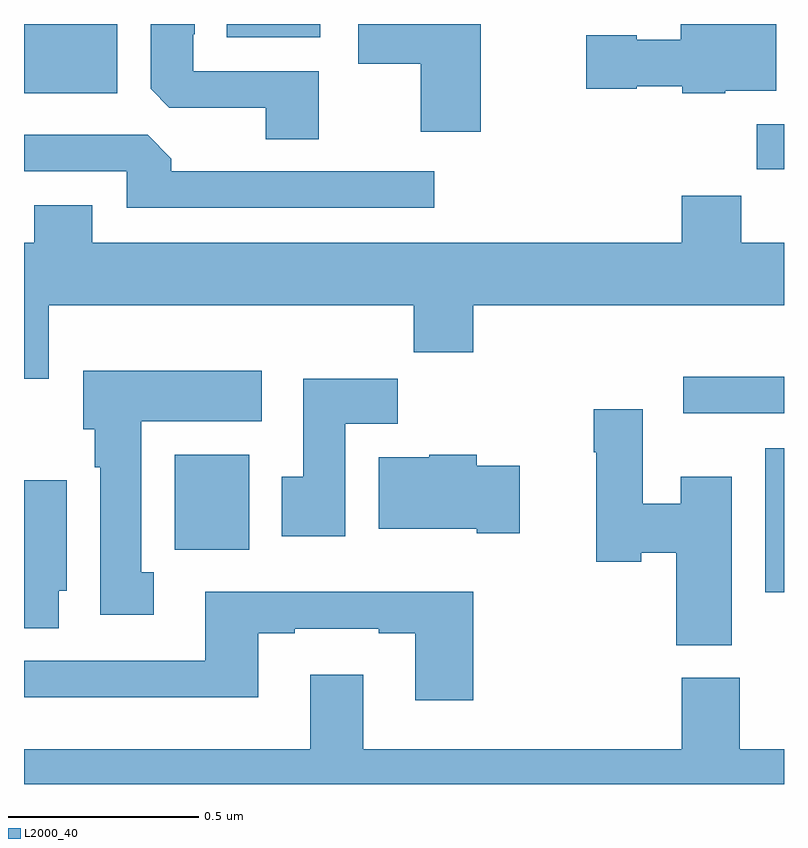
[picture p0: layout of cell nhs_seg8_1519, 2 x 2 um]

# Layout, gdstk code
import gdstk
lib = gdstk.Library(unit=1e-6, precision=1e-09)
def R(c, l, rs):  # rectangles x0, y0, x1, y1
    for r in rs: c.add(gdstk.rectangle(r[:2], r[2:], *l))
def P(c, l, *ps):  # polygons
    for p in ps: c.add(gdstk.Polygon(p, *l))
L2000_40 = (2000, 40)

nhs_seg8_1519 = lib.new_cell('nhs_seg8_1519')
R(nhs_seg8_1519, L2000_40, [(132.95,1122.404,133,1122.784), (131.397,1122.516,131.593,1122.766), (132.735,1122.876,133,1122.972), (132.928,1123.518,133,1123.636), (131,1123.718,131.245,1123.9), (131.534,1123.865,131.779,1123.9)])
P(nhs_seg8_1519, L2000_40, [(132.202,1123.9),(131.88,1123.9),(131.88,1123.796),(132.044,1123.796),(132.044,1123.617),(132.202,1123.617)],
  [(131.776,1123.776),(131.445,1123.776),(131.445,1123.873),(131.449,1123.873),(131.449,1123.9),(131.333,1123.9),(131.333,1123.729),(131.382,1123.68),(131.636,1123.68),(131.636,1123.597),(131.776,1123.597)],
  [(132.846,1123.724),(132.979,1123.724),(132.979,1123.9),(132.728,1123.9),(132.728,1123.858),(132.612,1123.858),(132.612,1123.871),(132.48,1123.871),(132.48,1123.729),(132.612,1123.729),(132.612,1123.736),(132.732,1123.736),(132.732,1123.718),(132.846,1123.718)],
  [(132.079,1123.512),(131.387,1123.512),(131.387,1123.546),(131.325,1123.608),(131,1123.608),(131,1123.512),(131.271,1123.512),(131.271,1123.416),(132.079,1123.416)],
  [(132.025,1123.036),(132.182,1123.036),(132.182,1123.16),(133,1123.16),(133,1123.324),(132.887,1123.324),(132.887,1123.448),(132.731,1123.448),(132.731,1123.324),(131.179,1123.324),(131.179,1123.423),(131.027,1123.423),(131.027,1123.324),(131,1123.324),(131,1122.966),(131.065,1122.966),(131.065,1123.16),(132.025,1123.16)],
  [(131.341,1122.457),(131.308,1122.457),(131.308,1122.854),(131.626,1122.854),(131.626,1122.988),(131.156,1122.988),(131.156,1122.834),(131.186,1122.834),(131.186,1122.734),(131.201,1122.734),(131.201,1122.345),(131.341,1122.345)],
  [(131.845,1122.848),(131.984,1122.848),(131.984,1122.967),(131.735,1122.967),(131.735,1122.708),(131.678,1122.708),(131.678,1122.552),(131.845,1122.552)],
  [(132.862,1122.709),(132.728,1122.709),(132.728,1122.637),(132.628,1122.637),(132.628,1122.886),(132.499,1122.886),(132.499,1122.773),(132.506,1122.773),(132.506,1122.485),(132.624,1122.485),(132.624,1122.508),(132.716,1122.508),(132.716,1122.265),(132.862,1122.265)],
  [(132.304,1122.738),(132.192,1122.738),(132.192,1122.766),(132.066,1122.766),(132.066,1122.76),(131.933,1122.76),(131.933,1122.572),(132.191,1122.572),(132.191,1122.56),(132.304,1122.56)],
  [(131.092,1122.408),(131.113,1122.408),(131.113,1122.7),(131,1122.7),(131,1122.31),(131.092,1122.31)],
  [(132.182,1122.406),(131.477,1122.406),(131.477,1122.225),(131,1122.225),(131,1122.128),(131.617,1122.128),(131.617,1122.297),(131.713,1122.297),(131.713,1122.309),(131.933,1122.309),(131.933,1122.297),(132.029,1122.297),(132.029,1122.12),(132.182,1122.12)],
  [(133,1121.992),(132.883,1121.992),(132.883,1122.18),(132.731,1122.18),(132.731,1121.992),(131.893,1121.992),(131.893,1122.187),(131.753,1122.187),(131.753,1121.992),(131,1121.992),(131,1121.9),(133,1121.9)])

lib.write_gds('nhs_seg8_1519.gds')
